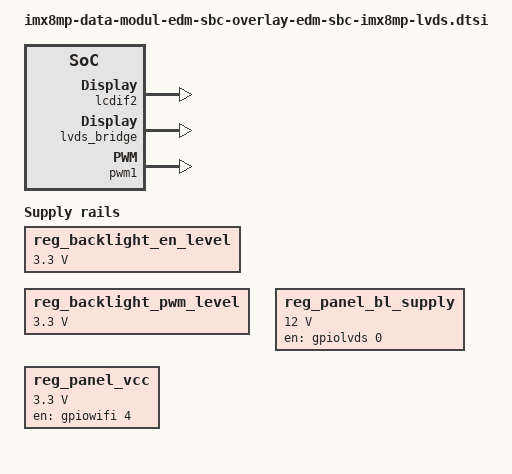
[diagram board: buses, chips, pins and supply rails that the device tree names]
// SPDX-License-Identifier: (GPL-2.0+ OR MIT)
/*
 * Copyright 2023-2026 Marek Vasut
 */
/dts-v1/;
/plugin/;

#include <dt-bindings/gpio/gpio.h>

&{/} {
	reg_backlight_en_level: regulator-backlight-en-level {
		compatible = "regulator-gpio";
		regulator-name = "Backlight_SEL_EN";
		regulator-type = "voltage";
		gpios = <&gpiolvds 5 GPIO_ACTIVE_HIGH>; /* SEL_EN */
		states = <3300000 0x0>,
			 <5000000 0x1>;

		/* Default setting: lowest supported voltage. */
		regulator-min-microvolt = <3300000>;
		regulator-max-microvolt = <3300000>;
	};

	reg_backlight_pwm_level: regulator-backlight-pwm-level {
		compatible = "regulator-gpio";
		regulator-name = "Backlight_SEL_PWM";
		regulator-type = "voltage";
		gpios = <&gpiolvds 4 GPIO_ACTIVE_HIGH>; /* SEL_PWM */
		states = <3300000 0x0>,
			 <5000000 0x1>;

		/* Default setting: lowest supported voltage. */
		regulator-min-microvolt = <3300000>;
		regulator-max-microvolt = <3300000>;
	};

	reg_panel_bl_supply: regulator-panel-bl-supply {
		compatible = "regulator-gpio";
		regulator-type = "voltage";
		regulator-name = "PANEL_BL_SUPPLY";
		enable-gpios = <&gpiolvds 0 0>;
		enable-active-high;
		status = "okay";

		/*
		 * MP2328 voltage divider settings:
		 *   R1=51k1
		 *   R2=5k62 with optional series Rs=2k21 (12V)
		 *
		 * 1 / Rx = (1 / R2) [ + (1 / Rs)][ + (1 / Rt)]
		 * Vout = 0.5 + ((R1 / Rx) * 0.5)
		 */
		gpios = <&gpiolvds 1 GPIO_ACTIVE_HIGH>;	/* 12V */
		states = <5000000 0x0>,
			 <12000000 0x1>;

		/* Default setting: lowest supported voltage. */
		gpios-states = <1>;	/* Default GPIO state is HIGH, so 12V0 out */
		regulator-min-microvolt = <12000000>;
		regulator-max-microvolt = <12000000>;
	};

	reg_panel_bl: regulator-panel-bl {
		compatible = "regulator-fixed";
		pinctrl-names = "default";
		pinctrl-0 = <&pinctrl_panel_backlight>;
		regulator-name = "PANEL_BL";
		regulator-min-microvolt = <3300000>;
		regulator-max-microvolt = <3300000>;
		gpio = <&gpiowifi 0 0>;
		enable-active-high;
		vin-supply = <&reg_panel_bl_supply>;
		/* Used by panels which enable PWM signal before BL ON/OFF */
		status = "disabled";
	};
};

&lcdif2 {
	status = "okay";
};

&lvds_bridge {
	status = "okay";
};

&pwm1 {
	status = "okay";
};

&reg_panel_vcc {
	compatible = "regulator-gpio";
	regulator-type = "voltage";
	enable-gpios = <&gpiowifi 4 0>;
	enable-active-high;
	status = "okay";

	/*
	 * MP2328 voltage divider settings:
	 *   R1=51k1
	 *   R2=9k09 with optional series Rs=5k62 (5V) or Rt=2k21 (12V)
	 *
	 * 1 / Rx = (1 / R2) [ + (1 / Rs)][ + (1 / Rt)]
	 * Vout = 0.5 + ((R1 / Rx) * 0.5)
	 */
	gpios = <&gpiolvds 2 GPIO_ACTIVE_HIGH>,	/* 5V */
		<&gpiolvds 3 GPIO_ACTIVE_HIGH>;	/* 12V */
	states = <3300000 0x0>,
		 <5000000 0x1>,
		 <12000000 0x2>,
		 <14000000 0x3>;

	/* Default setting: lowest supported voltage. */
	gpios-states = <0 0>;	/* Default GPIO state is LOW/LOW, so 3V3 out */
	regulator-min-microvolt = <3300000>;
	regulator-max-microvolt = <3300000>;
};
